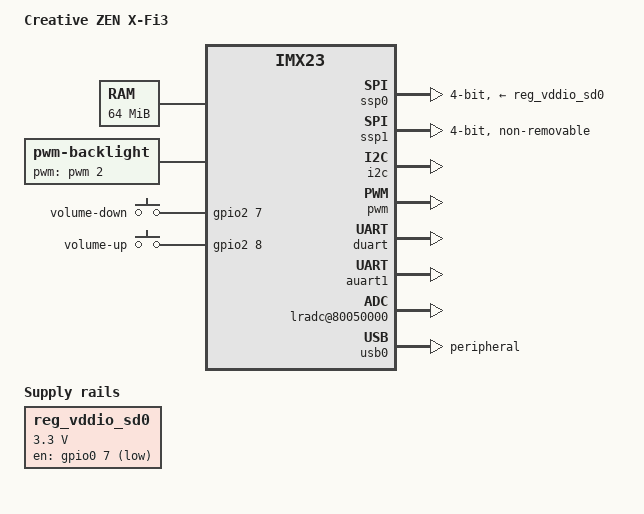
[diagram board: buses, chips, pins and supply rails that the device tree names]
/*
 * Copyright (C) 2013-2016 Marek Vasut <marek.vasut@gmail.com>
 *
 * This file is dual-licensed: you can use it either under the terms
 * of the GPL or the X11 license, at your option. Note that this dual
 * licensing only applies to this file, and not this project as a
 * whole.
 *
 *  a) This file is free software; you can redistribute it and/or
 *     modify it under the terms of the GNU General Public License as
 *     published by the Free Software Foundation; either version 2 of
 *     the License, or (at your option) any later version.
 *
 *     This file is distributed in the hope that it will be useful,
 *     but WITHOUT ANY WARRANTY; without even the implied warranty of
 *     MERCHANTABILITY or FITNESS FOR A PARTICULAR PURPOSE.  See the
 *     GNU General Public License for more details.
 *
 * Or, alternatively,
 *
 *  b) Permission is hereby granted, free of charge, to any person
 *     obtaining a copy of this software and associated documentation
 *     files (the "Software"), to deal in the Software without
 *     restriction, including without limitation the rights to use,
 *     copy, modify, merge, publish, distribute, sublicense, and/or
 *     sell copies of the Software, and to permit persons to whom the
 *     Software is furnished to do so, subject to the following
 *     conditions:
 *
 *     The above copyright notice and this permission notice shall be
 *     included in all copies or substantial portions of the Software.
 *
 *     THE SOFTWARE IS PROVIDED "AS IS", WITHOUT WARRANTY OF ANY KIND,
 *     EXPRESS OR IMPLIED, INCLUDING BUT NOT LIMITED TO THE WARRANTIES
 *     OF MERCHANTABILITY, FITNESS FOR A PARTICULAR PURPOSE AND
 *     NONINFRINGEMENT. IN NO EVENT SHALL THE AUTHORS OR COPYRIGHT
 *     HOLDERS BE LIABLE FOR ANY CLAIM, DAMAGES OR OTHER LIABILITY,
 *     WHETHER IN AN ACTION OF CONTRACT, TORT OR OTHERWISE, ARISING
 *     FROM, OUT OF OR IN CONNECTION WITH THE SOFTWARE OR THE USE OR
 *     OTHER DEALINGS IN THE SOFTWARE.
 *
 */

/dts-v1/;
#include "imx23.dtsi"

/ {
	model = "Creative ZEN X-Fi3";
	compatible = "creative,x-fi3", "fsl,imx23";

	memory@40000000 {
		device_type = "memory";
		reg = <0x40000000 0x04000000>;
	};

	apb@80000000 {
		apbh@80000000 {
			ssp0: spi@80010000 {
				compatible = "fsl,imx23-mmc";
				pinctrl-names = "default";
				pinctrl-0 = <&mmc0_4bit_pins_a &mmc0_pins_fixup>;
				bus-width = <4>;
				vmmc-supply = <&reg_vddio_sd0>;
				cd-inverted;
				status = "okay";
			};

			ssp1: spi@80034000 {
				compatible = "fsl,imx23-mmc";
				pinctrl-names = "default";
				pinctrl-0 = <&mmc1_4bit_pins_a>;
				bus-width = <4>;
				non-removable;
				status = "okay";
			};

			pinctrl@80018000 {
				pinctrl-names = "default";
				pinctrl-0 = <&hog_pins_a>;

				hog_pins_a: hog@0 {
					reg = <0>;
					fsl,pinmux-ids = <
						MX23_PAD_GPMI_D07__GPIO_0_7
					>;
					fsl,drive-strength = <0>;
					fsl,voltage = <1>;
					fsl,pull-up = <0>;
				};

				key_pins_a: keys@0 {
					reg = <0>;
					fsl,pinmux-ids = <
						MX23_PAD_ROTARYA__GPIO_2_7
						MX23_PAD_ROTARYB__GPIO_2_8
					>;
					fsl,drive-strength = <0>;
					fsl,voltage = <1>;
					fsl,pull-up = <1>;
				};
			};
		};

		apbx@80040000 {
			i2c: i2c@80058000 {
				pinctrl-names = "default";
				pinctrl-0 = <&i2c_pins_a>;
				status = "okay";
			};

			pwm: pwm@80064000 {
				pinctrl-names = "default";
				pinctrl-0 = <&pwm2_pins_a>;
				status = "okay";
			};

			duart: serial@80070000 {
				pinctrl-names = "default";
				pinctrl-0 = <&duart_pins_a>;
				status = "okay";
			};

			auart1: serial@8006e000 {
				pinctrl-names = "default";
				pinctrl-0 = <&auart1_2pins_a>;
				status = "okay";
			};

			usbphy0: usbphy@8007c000 {
				status = "okay";
			};

			lradc@80050000 {
				status = "okay";
			};
		};
	};

	ahb@80080000 {
		usb0: usb@80080000 {
			dr_mode = "peripheral";
			status = "okay";
		};
	};

	reg_vddio_sd0: regulator-vddio-sd0 {
		compatible = "regulator-fixed";
		regulator-name = "vddio-sd0";
		regulator-min-microvolt = <3300000>;
		regulator-max-microvolt = <3300000>;
		gpio = <&gpio0 7 0>;
	};

	backlight {
		compatible = "pwm-backlight";
		pwms = <&pwm 2 5000000>;
		brightness-levels = <0 4 8 16 32 64 128 255>;
		default-brightness-level = <6>;
	};

	gpio_keys {
		compatible = "gpio-keys";
		pinctrl-names = "default";
		pinctrl-0 = <&key_pins_a>;

		voldown {
			label = "volume-down";
			linux,code = <114>;
			gpios = <&gpio2 7 0>;
			debounce-interval = <20>;
		};

		volup {
			label = "volume-up";
			linux,code = <115>;
			gpios = <&gpio2 8 0>;
			debounce-interval = <20>;
		};
	};
};
